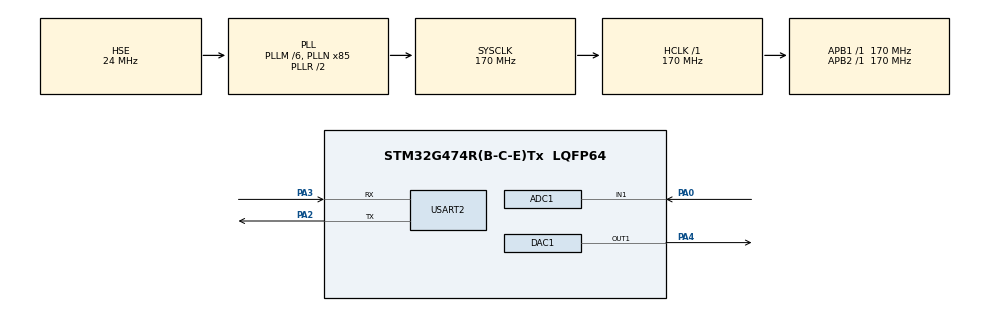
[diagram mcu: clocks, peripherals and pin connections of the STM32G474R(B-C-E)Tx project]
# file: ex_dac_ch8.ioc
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Mcu.Family=STM32G4
RCC.PLLSourceVirtual=RCC_PLLSOURCE_HSE
NVIC.ADC1_2_IRQn=true\:0\:0\:true\:false\:true\:true\:true
PA2.GPIO_PuPd=GPIO_PULLUP
RCC.CortexFreq_Value=170000000
ADC1.Rank-0\#ChannelRegularConversion=1
ADC1.OffsetNumber-0\#ChannelRegularConversion=ADC_OFFSET_NONE
TIM4.PeriodNoDither=9
PA3.GPIO_PuPd=GPIO_PULLUP
RCC.EXTERNAL_CLOCK_VALUE=12288000
RCC.SYSCLKSource=RCC_SYSCLKSOURCE_PLLCLK
ProjectManager.StackSize=0x400
PA13.Signal=SYS_JTMS-SWDIO
PA3.Mode=Asynchronous
ProjectManager.TargetToolchain=STM32CubeIDE
SH.COMP_DAC11_group.0=DAC1_OUT1,DAC_OUT1
RCC.HCLKFreq_Value=170000000
RCC.APB2TimFreq_Value=170000000
RCC.USBFreq_Value=170000000
TIM4.Prescaler=169
RCC.LSE_VALUE=32768
RCC.AHBFreq_Value=170000000
PF0-OSC_IN.Mode=HSE-External-Oscillator
ADC1.Channel-0\#ChannelRegularConversion=ADC_CHANNEL_1
RCC.HSE_VALUE=24000000
board=custom
USART2.VirtualMode-Asynchronous=VM_ASYNC
RCC.VCOOutputFreq_Value=340000000
RCC.ADC12Freq_Value=34000000
RCC.ADC345Freq_Value=170000000
RCC.APB2Freq_Value=170000000
PA14.Mode=Serial_Wire
TIM3.Prescaler=169
PA0.Mode=IN1-Single-Ended
VP_SYS_VS_DBSignals.Mode=DisableDeadBatterySignals
PA13.Mode=Serial_Wire
Mcu.Name=STM32G474R(B-C-E)Tx
ADC1.SamplingTime-0\#ChannelRegularConversion=ADC_SAMPLETIME_2CYCLES_5
PA2.Signal=USART2_TX
PA0.Signal=ADC1_IN1
ADC1.ExternalTrigConv=ADC_EXTERNALTRIG_T3_TRGO
PA4.Signal=COMP_DAC11_group
RCC.SYSCLKFreq_VALUE=170000000
Mcu.Package=LQFP64
ADC1.master=1
RCC.ADC12CLockSelection=RCC_ADC12CLKSOURCE_PLL
PA14.Signal=SYS_JTCK-SWCLK
ProjectManager.HeapSize=0x200
TIM3.PeriodNoDither=999
RCC.HSI_VALUE=16000000
VP_TIM4_VS_ClockSourceINT.Mode=Internal
RCC.PLLP=RCC_PLLP_DIV10
NVIC.PriorityGroup=NVIC_PRIORITYGROUP_4
ADC1.NbrOfConversionFlag=1
RCC.PLLM=RCC_PLLM_DIV6
RCC.PLLN=85
RCC.APB1TimFreq_Value=170000000
PA2.Mode=Asynchronous
PF0-OSC_IN.Signal=RCC_OSC_IN
TIM3.TIM_MasterOutputTrigger=TIM_TRGO_UPDATE
PF1-OSC_OUT.Mode=HSE-External-Oscillator
NVIC.TIM4_IRQn=true\:1\:0\:true\:false\:true\:true\:true
RCC.APB1Freq_Value=170000000
ADC1.ClockPrescaler=ADC_CLOCK_ASYNC_DIV1
VP_TIM3_VS_ClockSourceINT.Mode=Internal
PF1-OSC_OUT.Signal=RCC_OSC_OUT
RCC.HSI48_VALUE=48000000
PA3.Signal=USART2_RX

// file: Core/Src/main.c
/* USER CODE BEGIN Header */
/**
  ******************************************************************************
  * @file           : main.c
  * @brief          : Main program body
  ******************************************************************************
  * @attention
  *
  * <h2><center>&copy; Copyright (c) 2022 STMicroelectronics.
  * All rights reserved.</center></h2>
  *
  * This software component is licensed by ST under BSD 3-Clause license,
  * the "License"; You may not use this file except in compliance with the
  * License. You may obtain a copy of the License at:
  *                        opensource.org/licenses/BSD-3-Clause
  *
  ******************************************************************************
  */
/* USER CODE END Header */
#include "main.h"

/* USER CODE BEGIN Includes */
#include "stdio.h"
#include "stdlib.h"
/* USER CODE END Includes */

/* USER CODE BEGIN PD */
#define ADC_CONVERTED_DATA_BUFFER_SIZE (uint16_t)65
#define RX_BUFFER_SIZE 8

/* USER CODE END PD */

ADC_HandleTypeDef hadc1;

DAC_HandleTypeDef hdac1;

TIM_HandleTypeDef htim3;
TIM_HandleTypeDef htim4;

UART_HandleTypeDef huart2;

/* USER CODE BEGIN PV */
uint16_t DACIndex = 0;
uint16_t ADC1ConvertedData[ADC_CONVERTED_DATA_BUFFER_SIZE];

uint16_t ADC1ConvertedValue = 0;

uint16_t ADC1Data_index = 0;
uint8_t ADCSampleFlag = 0;

uint8_t RxBuffer[RX_BUFFER_SIZE] = {0};
uint8_t CommFlag = 0;
uint8_t StartMsg[] = "Start sample!\r\n";
uint8_t SampleStr[7] = "Sample";
/* USER CODE END PV */

void SystemClock_Config(void);
static void MX_GPIO_Init(void);
static void MX_DAC1_Init(void);
static void MX_ADC1_Init(void);
static void MX_TIM3_Init(void);
static void MX_USART2_UART_Init(void);
static void MX_TIM4_Init(void);

int main(void)
{

  /* MCU Configuration--------------------------------------------------------*/

  /* Reset of all peripherals, Initializes the Flash interface and the Systick. */
  HAL_Init();

  /* Configure the system clock */
  SystemClock_Config();

  /* Initialize all configured peripherals */
  MX_GPIO_Init();
  MX_DAC1_Init();
  MX_ADC1_Init();
  MX_TIM3_Init();
  MX_USART2_UART_Init();
  MX_TIM4_Init();
  /* USER CODE BEGIN 2 */
  HAL_DAC_Start(&hdac1, DAC_CHANNEL_1);
  HAL_ADCEx_Calibration_Start(&hadc1, ADC_SINGLE_ENDED);
  HAL_ADC_Start_IT(&hadc1);
  HAL_TIM_Base_Start(&htim3);
  HAL_TIM_Base_Start_IT(&htim4);
  HAL_UART_Receive_IT(&huart2, (uint8_t *)RxBuffer, RX_BUFFER_SIZE);
  /* USER CODE END 2 */

  /* Infinite loop */
  while (1)
  {

    /* USER CODE BEGIN 3 */
	  // 8.0
//	  DACIndex++;
//	  if (DACIndex == 4096)
//	  DACIndex = 0;
//	  HAL_DAC_SetValue(&hdac1, DAC_CHANNEL_1, DAC_ALIGN_12B_R, DACIndex);
//	  HAL_Delay(10);

//	  if((ADCSampleFlag == 1) && (CommFlag == 1) && (RxBuffer[0] == 0x53) && (RxBuffer[7] == 0x45)){
//
//		  uint8_t check = 1;
//		  for (uint32_t i = 1; i <= 5; ++i){
//			  if (RxBuffer[i] != SampleStr[i-1]) {
//				  check = 0;
//			  }
//		  }
//		  if (check > 0){
//			  for(uint16_t i = 1; i < ADC_CONVERTED_DATA_BUFFER_SIZE; i++)
//			  {
//				  printf("ADC1ConvertedData[%d] = %d\r\n", i, ADC1ConvertedData[i]);
//			  }
//			  HAL_Delay(1000);
//		  }
//		  else {
//			  printf("invalid info.\r\n");
//		  }
//		  CommFlag = 0;
//		  ADCSampleFlag = 0;
//	  }
//

	  // 8.2
//	  if (ADCSampleFlag == 1){
//		  for(uint16_t i = 1; i < ADC_CONVERTED_DATA_BUFFER_SIZE; i++)
//		  {
//			  printf("ADC1ConvertedData[%d] = %d\r\n", i, ADC1ConvertedData[i]);
//		  }
//		  HAL_Delay(1000);
//		  ADCSampleFlag = 0;
//	  }
//	  HAL_Delay(1000);

	  // 8.3
	  // set Prescaler = 203 = (169 + 1) * 24/20 - 1 -----> 20Hz
  }
  /* USER CODE END 3 */
}

void SystemClock_Config(void)
{
  RCC_OscInitTypeDef RCC_OscInitStruct = {0};
  RCC_ClkInitTypeDef RCC_ClkInitStruct = {0};
  RCC_PeriphCLKInitTypeDef PeriphClkInit = {0};

  /** Configure the main internal regulator output voltage
  */
  HAL_PWREx_ControlVoltageScaling(PWR_REGULATOR_VOLTAGE_SCALE1_BOOST);
  /** Initializes the RCC Oscillators according to the specified parameters
  * in the RCC_OscInitTypeDef structure.
  */
  RCC_OscInitStruct.OscillatorType = RCC_OSCILLATORTYPE_HSE;
  RCC_OscInitStruct.HSEState = RCC_HSE_ON;
  RCC_OscInitStruct.PLL.PLLState = RCC_PLL_ON;
  RCC_OscInitStruct.PLL.PLLSource = RCC_PLLSOURCE_HSE;
  RCC_OscInitStruct.PLL.PLLM = RCC_PLLM_DIV6;
  RCC_OscInitStruct.PLL.PLLN = 85;
  RCC_OscInitStruct.PLL.PLLP = RCC_PLLP_DIV10;
  RCC_OscInitStruct.PLL.PLLQ = RCC_PLLQ_DIV2;
  RCC_OscInitStruct.PLL.PLLR = RCC_PLLR_DIV2;
  if (HAL_RCC_OscConfig(&RCC_OscInitStruct) != HAL_OK)
  {
    Error_Handler();
  }
  /** Initializes the CPU, AHB and APB buses clocks
  */
  RCC_ClkInitStruct.ClockType = RCC_CLOCKTYPE_HCLK|RCC_CLOCKTYPE_SYSCLK
                              |RCC_CLOCKTYPE_PCLK1|RCC_CLOCKTYPE_PCLK2;
  RCC_ClkInitStruct.SYSCLKSource = RCC_SYSCLKSOURCE_PLLCLK;
  RCC_ClkInitStruct.AHBCLKDivider = RCC_SYSCLK_DIV1;
  RCC_ClkInitStruct.APB1CLKDivider = RCC_HCLK_DIV1;
  RCC_ClkInitStruct.APB2CLKDivider = RCC_HCLK_DIV1;

  if (HAL_RCC_ClockConfig(&RCC_ClkInitStruct, FLASH_LATENCY_4) != HAL_OK)
  {
    Error_Handler();
  }
  /** Initializes the peripherals clocks
  */
  PeriphClkInit.PeriphClockSelection = RCC_PERIPHCLK_USART2|RCC_PERIPHCLK_ADC12;
  PeriphClkInit.Usart2ClockSelection = RCC_USART2CLKSOURCE_PCLK1;
  PeriphClkInit.Adc12ClockSelection = RCC_ADC12CLKSOURCE_PLL;
  if (HAL_RCCEx_PeriphCLKConfig(&PeriphClkInit) != HAL_OK)
  {
    Error_Handler();
  }
}

static void MX_ADC1_Init(void)
{

  ADC_MultiModeTypeDef multimode = {0};
  ADC_ChannelConfTypeDef sConfig = {0};

  /** Common config
  */
  hadc1.Instance = ADC1;
  hadc1.Init.ClockPrescaler = ADC_CLOCK_ASYNC_DIV1;
  hadc1.Init.Resolution = ADC_RESOLUTION_12B;
  hadc1.Init.DataAlign = ADC_DATAALIGN_RIGHT;
  hadc1.Init.GainCompensation = 0;
  hadc1.Init.ScanConvMode = ADC_SCAN_DISABLE;
  hadc1.Init.EOCSelection = ADC_EOC_SINGLE_CONV;
  hadc1.Init.LowPowerAutoWait = DISABLE;
  hadc1.Init.ContinuousConvMode = DISABLE;
  hadc1.Init.NbrOfConversion = 1;
  hadc1.Init.DiscontinuousConvMode = DISABLE;
  hadc1.Init.ExternalTrigConv = ADC_EXTERNALTRIG_T3_TRGO;
  hadc1.Init.ExternalTrigConvEdge = ADC_EXTERNALTRIGCONVEDGE_RISING;
  hadc1.Init.DMAContinuousRequests = DISABLE;
  hadc1.Init.Overrun = ADC_OVR_DATA_PRESERVED;
  hadc1.Init.OversamplingMode = DISABLE;
  if (HAL_ADC_Init(&hadc1) != HAL_OK)
  {
    Error_Handler();
  }
  /** Configure the ADC multi-mode
  */
  multimode.Mode = ADC_MODE_INDEPENDENT;
  if (HAL_ADCEx_MultiModeConfigChannel(&hadc1, &multimode) != HAL_OK)
  {
    Error_Handler();
  }
  /** Configure Regular Channel
  */
  sConfig.Channel = ADC_CHANNEL_1;
  sConfig.Rank = ADC_REGULAR_RANK_1;
  sConfig.SamplingTime = ADC_SAMPLETIME_2CYCLES_5;
  sConfig.SingleDiff = ADC_SINGLE_ENDED;
  sConfig.OffsetNumber = ADC_OFFSET_NONE;
  sConfig.Offset = 0;
  if (HAL_ADC_ConfigChannel(&hadc1, &sConfig) != HAL_OK)
  {
    Error_Handler();
  }

}

static void MX_DAC1_Init(void)
{

  DAC_ChannelConfTypeDef sConfig = {0};

  /** DAC Initialization
  */
  hdac1.Instance = DAC1;
  if (HAL_DAC_Init(&hdac1) != HAL_OK)
  {
    Error_Handler();
  }
  /** DAC channel OUT1 config
  */
  sConfig.DAC_HighFrequency = DAC_HIGH_FREQUENCY_INTERFACE_MODE_AUTOMATIC;
  sConfig.DAC_DMADoubleDataMode = DISABLE;
  sConfig.DAC_SignedFormat = DISABLE;
  sConfig.DAC_SampleAndHold = DAC_SAMPLEANDHOLD_DISABLE;
  sConfig.DAC_Trigger = DAC_TRIGGER_NONE;
  sConfig.DAC_Trigger2 = DAC_TRIGGER_NONE;
  sConfig.DAC_OutputBuffer = DAC_OUTPUTBUFFER_ENABLE;
  sConfig.DAC_ConnectOnChipPeripheral = DAC_CHIPCONNECT_EXTERNAL;
  sConfig.DAC_UserTrimming = DAC_TRIMMING_FACTORY;
  if (HAL_DAC_ConfigChannel(&hdac1, &sConfig, DAC_CHANNEL_1) != HAL_OK)
  {
    Error_Handler();
  }

}

static void MX_TIM3_Init(void)
{

  TIM_ClockConfigTypeDef sClockSourceConfig = {0};
  TIM_MasterConfigTypeDef sMasterConfig = {0};

  htim3.Instance = TIM3;
  htim3.Init.Prescaler = 169;
  htim3.Init.CounterMode = TIM_COUNTERMODE_UP;
  htim3.Init.Period = 999;
  htim3.Init.ClockDivision = TIM_CLOCKDIVISION_DIV1;
  htim3.Init.AutoReloadPreload = TIM_AUTORELOAD_PRELOAD_DISABLE;
  if (HAL_TIM_Base_Init(&htim3) != HAL_OK)
  {
    Error_Handler();
  }
  sClockSourceConfig.ClockSource = TIM_CLOCKSOURCE_INTERNAL;
  if (HAL_TIM_ConfigClockSource(&htim3, &sClockSourceConfig) != HAL_OK)
  {
    Error_Handler();
  }
  sMasterConfig.MasterOutputTrigger = TIM_TRGO_UPDATE;
  sMasterConfig.MasterSlaveMode = TIM_MASTERSLAVEMODE_DISABLE;
  if (HAL_TIMEx_MasterConfigSynchronization(&htim3, &sMasterConfig) != HAL_OK)
  {
    Error_Handler();
  }

}

static void MX_TIM4_Init(void)
{

  TIM_ClockConfigTypeDef sClockSourceConfig = {0};
  TIM_MasterConfigTypeDef sMasterConfig = {0};

  htim4.Instance = TIM4;
  htim4.Init.Prescaler = 169;
  htim4.Init.CounterMode = TIM_COUNTERMODE_UP;
  htim4.Init.Period = 9;
  htim4.Init.ClockDivision = TIM_CLOCKDIVISION_DIV1;
  htim4.Init.AutoReloadPreload = TIM_AUTORELOAD_PRELOAD_DISABLE;
  if (HAL_TIM_Base_Init(&htim4) != HAL_OK)
  {
    Error_Handler();
  }
  sClockSourceConfig.ClockSource = TIM_CLOCKSOURCE_INTERNAL;
  if (HAL_TIM_ConfigClockSource(&htim4, &sClockSourceConfig) != HAL_OK)
  {
    Error_Handler();
  }
  sMasterConfig.MasterOutputTrigger = TIM_TRGO_RESET;
  sMasterConfig.MasterSlaveMode = TIM_MASTERSLAVEMODE_DISABLE;
  if (HAL_TIMEx_MasterConfigSynchronization(&htim4, &sMasterConfig) != HAL_OK)
  {
    Error_Handler();
  }

}

static void MX_USART2_UART_Init(void)
{

  huart2.Instance = USART2;
  huart2.Init.BaudRate = 115200;
  huart2.Init.WordLength = UART_WORDLENGTH_8B;
  huart2.Init.StopBits = UART_STOPBITS_1;
  huart2.Init.Parity = UART_PARITY_NONE;
  huart2.Init.Mode = UART_MODE_TX_RX;
  huart2.Init.HwFlowCtl = UART_HWCONTROL_NONE;
  huart2.Init.OverSampling = UART_OVERSAMPLING_16;
  huart2.Init.OneBitSampling = UART_ONE_BIT_SAMPLE_DISABLE;
  huart2.Init.ClockPrescaler = UART_PRESCALER_DIV1;
  huart2.AdvancedInit.AdvFeatureInit = UART_ADVFEATURE_NO_INIT;
  if (HAL_UART_Init(&huart2) != HAL_OK)
  {
    Error_Handler();
  }
  if (HAL_UARTEx_SetTxFifoThreshold(&huart2, UART_TXFIFO_THRESHOLD_1_8) != HAL_OK)
  {
    Error_Handler();
  }
  if (HAL_UARTEx_SetRxFifoThreshold(&huart2, UART_RXFIFO_THRESHOLD_1_8) != HAL_OK)
  {
    Error_Handler();
  }
  if (HAL_UARTEx_DisableFifoMode(&huart2) != HAL_OK)
  {
    Error_Handler();
  }

}

static void MX_GPIO_Init(void)
{

  /* GPIO Ports Clock Enable */
  __HAL_RCC_GPIOF_CLK_ENABLE();
  __HAL_RCC_GPIOA_CLK_ENABLE();

}

/* USER CODE BEGIN 4 */
void HAL_ADC_ConvCpltCallback(ADC_HandleTypeDef *hadc)
{
	// 8.1-2
//	ADC1ConvertedData[ADC1Data_index] = HAL_ADC_GetValue(&hadc1);
//	if (ADCSampleFlag == 0)
//		ADC1Data_index++;
//	if (ADC1Data_index == ADC_CONVERTED_DATA_BUFFER_SIZE)
//	{
//		ADCSampleFlag = 1;
//		ADC1Data_index = 0;
//	}

	// 8.3
	ADC1ConvertedValue = HAL_ADC_GetValue(&hadc1);
	HAL_UART_Transmit(&huart2, (uint8_t *)&ADC1ConvertedValue, 2, 0xFFFF);

}

void HAL_TIM_PeriodElapsedCallback(TIM_HandleTypeDef *htim)
{
	if (htim == (&htim4))
	{
		DACIndex++;
		if (DACIndex == 4096)
			DACIndex = 0;
		HAL_DAC_SetValue(&hdac1, DAC_CHANNEL_1, DAC_ALIGN_12B_R, DACIndex);
	}
}

int __io_putchar(int ch)
{
	HAL_UART_Transmit(&huart2, (uint8_t *)&ch, 1, 0xFFFF);
	return ch;
}

void HAL_UART_RxCpltCallback(UART_HandleTypeDef *huart)
{
	CommFlag = 1;
	HAL_UART_Receive_IT(&huart2, (uint8_t *)RxBuffer, RX_BUFFER_SIZE);
}
/* USER CODE END 4 */

void Error_Handler(void)
{
  __disable_irq();
  while (1)
  {
  }
}

/************************ (C) COPYRIGHT STMicroelectronics *****END OF FILE****/
